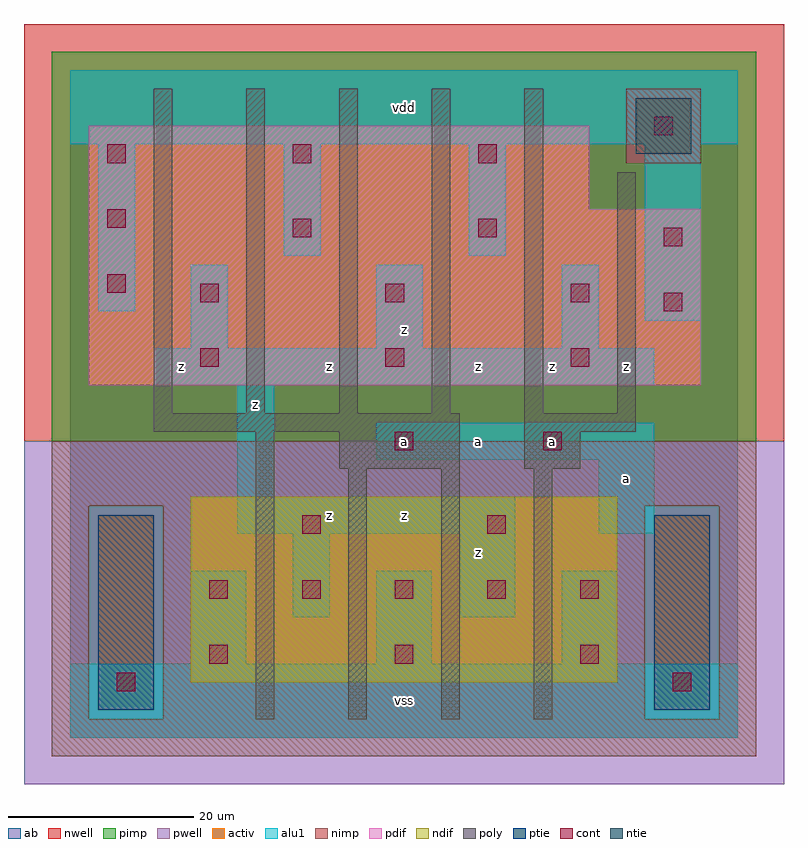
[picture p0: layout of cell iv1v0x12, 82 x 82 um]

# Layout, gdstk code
import gdstk
lib = gdstk.Library(unit=1e-6, precision=1e-09)
def R(c, l, rs):  # rectangles x0, y0, x1, y1
    for r in rs: c.add(gdstk.rectangle(r[:2], r[2:], *l))
def A(c, l, x, y, w, h, nx, ny, dx, dy):  # array of equal rectangles
    R(c, l, [(x+i*dx, y+j*dy, x+i*dx+w, y+j*dy+h) for i in range(nx) for j in range(ny)])
ndif = (3, 0)
pdif = (4, 0)
ntie = (5, 0)
ptie = (6, 0)
cont = (25, 0)
pwell = (41, 0)
nwell = (42, 0)
activ = (43, 0)
pimp = (44, 0)
nimp = (45, 0)
poly = (46, 0)
alu1 = (49, 0)
ab = (63, 0)

iv1v0x12 = lib.new_cell('iv1v0x12')
R(iv1v0x12, ndif, [(13,6,59,26)])
R(iv1v0x12, pdif, [(2,38,68,57), (2,57,56,66)])
R(iv1v0x12, ntie, [(61,63,67,69)])
R(iv1v0x12, ptie, [(3,3,9,24), (63,3,69,24)])
A(iv1v0x12, cont, 15, 8, 2, 2, 3, 1, 20, 0)
A(iv1v0x12, cont, 15, 15, 2, 2, 5, 1, 10, 0)
A(iv1v0x12, cont, 14, 40, 2, 2, 3, 2, 20, 7)
A(iv1v0x12, cont, 4, 62, 2, 2, 3, 1, 20, 0)
R(iv1v0x12, cont, [(5,5,7,7), (65,5,67,7), (25,22,27,24), (45,22,47,24), (35,31,37,33), (51,31,53,33), (64,46,66,48), (4,48,6,50), (64,53,66,55), (24,54,26,56), (44,54,46,56), (4,55,6,57), (63,65,65,67)])
R(iv1v0x12, pwell, [(-5,-5,77,32)])
R(iv1v0x12, nwell, [(-5,32,77,77)])
R(iv1v0x12, activ, [(3,3,9,24), (63,3,69,24), (13,6,59,26), (2,38,68,57), (2,57,56,66), (61,63,67,69)])
R(iv1v0x12, pimp, [(2,2,10,25), (62,2,70,25), (-2,32,74,62), (-2,62,60,70), (68,62,74,70), (-2,70,74,74)])
R(iv1v0x12, nimp, [(-2,-2,74,2), (-2,2,2,25), (10,2,62,25), (70,2,74,25), (-2,25,74,32), (60,62,68,70)])
A(iv1v0x12, poly, 30, 2, 2, 27, 3, 1, 10, 0)
A(iv1v0x12, poly, 9, 35, 2, 35, 5, 1, 10, 0)
R(iv1v0x12, poly, [(20,2,22,33), (29,29,42,33), (49,29,55,33), (9,33,42,35), (49,33,61,35), (59,35,61,61)])
A(iv1v0x12, alu1, 13, 8, 6, 10, 3, 1, 20, 0)
R(iv1v0x12, alu1, [(0,0,72,8), (24,13,28,22), (42,13,48,22), (18,22,48,26), (57,22,63,30), (18,26,22,38), (33,30,63,34), (9,38,63,42), (13,42,17,51), (33,42,38,51), (53,42,57,51), (62,45,68,64), (3,46,7,64), (23,52,27,64), (43,52,47,64), (0,64,72,72)])
R(iv1v0x12, ab, [(0,0,72,72)])
iv1v0x12.add(gdstk.Label('z', (12,40), layer=49, texttype=0))
iv1v0x12.add(gdstk.Label('z', (28,24), layer=49, texttype=0))
iv1v0x12.add(gdstk.Label('z', (28,40), layer=49, texttype=0))
iv1v0x12.add(gdstk.Label('z', (20,36), layer=49, texttype=0))
iv1v0x12.add(gdstk.Label('vss', (36,4), layer=49, texttype=0))
iv1v0x12.add(gdstk.Label('z', (44,20), layer=49, texttype=0))
iv1v0x12.add(gdstk.Label('z', (36,24), layer=49, texttype=0))
iv1v0x12.add(gdstk.Label('a', (36,32), layer=49, texttype=0))
iv1v0x12.add(gdstk.Label('a', (44,32), layer=49, texttype=0))
iv1v0x12.add(gdstk.Label('a', (52,32), layer=49, texttype=0))
iv1v0x12.add(gdstk.Label('z', (44,40), layer=49, texttype=0))
iv1v0x12.add(gdstk.Label('z', (52,40), layer=49, texttype=0))
iv1v0x12.add(gdstk.Label('z', (36,44), layer=49, texttype=0))
iv1v0x12.add(gdstk.Label('vdd', (36,68), layer=49, texttype=0))
iv1v0x12.add(gdstk.Label('a', (60,28), layer=49, texttype=0))
iv1v0x12.add(gdstk.Label('z', (60,40), layer=49, texttype=0))

lib.write_gds('iv1v0x12.gds')
